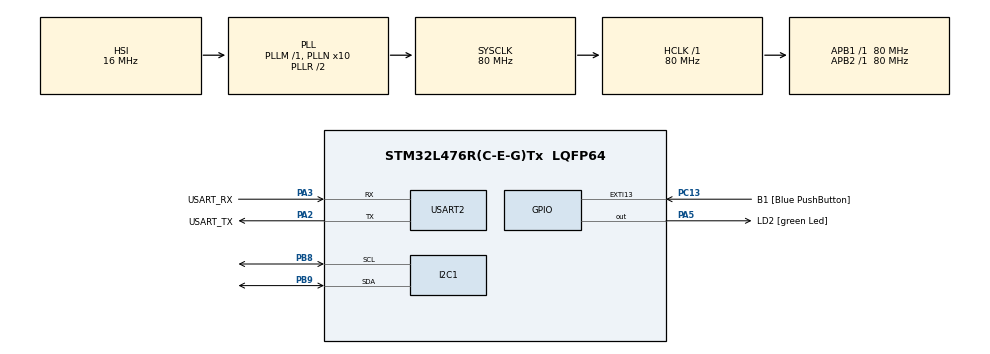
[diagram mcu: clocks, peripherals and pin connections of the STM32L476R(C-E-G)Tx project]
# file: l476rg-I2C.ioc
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I2C1.Timing=0x10909CEC
Mcu.Family=STM32L4
Mcu.Name=STM32L476R(C-E-G)Tx
Mcu.Package=LQFP64
NVIC.PriorityGroup=NVIC_PRIORITYGROUP_4
PA13\ (JTMS-SWDIO).GPIO_Label=TMS
PA13\ (JTMS-SWDIO).Mode=Serial_Wire
PA13\ (JTMS-SWDIO).Signal=SYS_JTMS-SWDIO
PA14\ (JTCK-SWCLK).GPIO_Label=TCK
PA14\ (JTCK-SWCLK).Mode=Serial_Wire
PA14\ (JTCK-SWCLK).Signal=SYS_JTCK-SWCLK
PA2.GPIO_Label=USART_TX
PA2.GPIO_Mode=GPIO_MODE_AF_PP
PA2.GPIO_PuPd=GPIO_NOPULL
PA2.GPIO_Speed=GPIO_SPEED_FREQ_VERY_HIGH
PA2.Mode=Asynchronous
PA2.Signal=USART2_TX
PA3.GPIO_Label=USART_RX
PA3.GPIO_Mode=GPIO_MODE_AF_PP
PA3.GPIO_PuPd=GPIO_NOPULL
PA3.GPIO_Speed=GPIO_SPEED_FREQ_VERY_HIGH
PA3.Mode=Asynchronous
PA3.Signal=USART2_RX
PA5.GPIO_Label=LD2 [green Led]
PA5.GPIO_ModeDefaultOutputPP=GPIO_MODE_OUTPUT_PP
PA5.GPIO_PuPd=GPIO_NOPULL
PA5.GPIO_Speed=GPIO_SPEED_FREQ_LOW
PA5.Signal=GPIO_Output
PB3\ (JTDO-TRACESWO).GPIO_Label=SWO
PB3\ (JTDO-TRACESWO).Signal=SYS_JTDO-SWO
PB8.Mode=I2C
PB8.Signal=I2C1_SCL
PB9.Mode=I2C
PB9.Signal=I2C1_SDA
PC13.GPIO_Label=B1 [Blue PushButton]
PC13.GPIO_ModeDefaultEXTI=GPIO_MODE_IT_FALLING
PC13.GPIO_PuPd=GPIO_NOPULL
PC13.Signal=GPXTI13
PC14-OSC32_IN\ (PC14).Mode=LSE-External-Oscillator
PC14-OSC32_IN\ (PC14).Signal=RCC_OSC32_IN
PC15-OSC32_OUT\ (PC15).Mode=LSE-External-Oscillator
PC15-OSC32_OUT\ (PC15).Signal=RCC_OSC32_OUT
PH0-OSC_IN\ (PH0).Signal=RCC_OSC_IN
PH1-OSC_OUT\ (PH1).Signal=RCC_OSC_OUT
ProjectManager.HeapSize=0x200
ProjectManager.StackSize=0x400
ProjectManager.TargetToolchain=STM32CubeIDE
RCC.ADCFreq_Value=64000000
RCC.AHBFreq_Value=80000000
RCC.APB1Freq_Value=80000000
RCC.APB1TimFreq_Value=80000000
RCC.APB2Freq_Value=80000000
RCC.APB2TimFreq_Value=80000000
RCC.CortexFreq_Value=80000000
RCC.HCLKFreq_Value=80000000
RCC.HSE_VALUE=8000000
RCC.HSI_VALUE=16000000
RCC.MSI_VALUE=4000000
RCC.PLLN=10
RCC.PLLSourceVirtual=RCC_PLLSOURCE_HSI
RCC.PREFETCH_ENABLE=1
RCC.SYSCLKFreq_VALUE=80000000
RCC.SYSCLKSource=RCC_SYSCLKSOURCE_PLLCLK
RCC.USBFreq_Value=64000000
RCC.VCOOutputFreq_Value=160000000
USART2.VirtualMode-Asynchronous=VM_ASYNC
board=NUCLEO-L476RG

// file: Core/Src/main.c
/* USER CODE BEGIN Header */
/**
  ******************************************************************************
  * @file           : main.c
  * @brief          : Main program body
  ******************************************************************************
  * @attention
  *
  * Copyright (c) 2023 STMicroelectronics.
  * All rights reserved.
  *
  * This software is licensed under terms that can be found in the LICENSE file
  * in the root directory of this software component.
  * If no LICENSE file comes with this software, it is provided AS-IS.
  *
  ******************************************************************************
  */
/* USER CODE END Header */
#include "main.h"

/* USER CODE BEGIN Includes */
#include <string.h>
#include <stdio.h>
/* USER CODE END Includes */

I2C_HandleTypeDef hi2c1;

UART_HandleTypeDef huart2;

/* USER CODE BEGIN PV */
static const uint8_t SENSOR_ADDRESS = 0x44 << 1;
static const uint8_t SENSOR_DATA = 0x00;
/* USER CODE END PV */

void SystemClock_Config(void);
static void MX_GPIO_Init(void);
static void MX_USART2_UART_Init(void);
static void MX_I2C1_Init(void);

void PrintHALStatus(HAL_StatusTypeDef status) {
	uint8_t buffer[50];

    switch (status) {
        case HAL_OK:
            sprintf(buffer, "HAL Status: OK\r\n");
            break;
        case HAL_ERROR:
            sprintf(buffer, "HAL Status: Error\r\n");
            break;
        case HAL_BUSY:
            sprintf(buffer, "HAL Status: Busy\r\n");
            break;
        case HAL_TIMEOUT:
            sprintf(buffer, "HAL Status: Timeout\r\n");
            break;
        default:
            sprintf(buffer, "HAL Status: Unknown\r\n");
            break;
    }

    // Transmit the formatted string over UART
    HAL_UART_Transmit(&huart2, buffer, strlen((char*)buffer), HAL_MAX_DELAY);
}

int main(void)
{
  /* USER CODE BEGIN 1 */

	HAL_StatusTypeDef statusReturn;
	uint8_t buf[12];
	uint16_t tempSensorVal;
	float sensorVal;

  /* USER CODE END 1 */

  /* MCU Configuration--------------------------------------------------------*/

  /* Reset of all peripherals, Initializes the Flash interface and the Systick. */
  HAL_Init();

  /* Configure the system clock */
  SystemClock_Config();

  /* Initialize all configured peripherals */
  MX_GPIO_Init();
  MX_USART2_UART_Init();
  MX_I2C1_Init();

  /* Infinite loop */
  /* USER CODE BEGIN WHILE */
  while (1)
  {

	  buf[0] = SENSOR_DATA;
	  statusReturn = HAL_I2C_Master_Transmit(&hi2c1, SENSOR_ADDRESS, buf, 1, HAL_MAX_DELAY);

	  PrintHALStatus(statusReturn);

	  if(statusReturn != HAL_OK)
	  {
		  strcpy((char*)buf, "Sensor Read Error (Byte 1) \r\n");
	  }
	  else
	  {
		  statusReturn = HAL_I2C_Master_Transmit(&hi2c1, SENSOR_ADDRESS, buf, 2, HAL_MAX_DELAY);
		  if(statusReturn != HAL_OK)
		  {
			  strcpy((char*)buf, "Sensor Read Error (Byte 2) \r\n");
		  }
		  else
		  {
			  //Combine the bytes
			  tempSensorVal = ((int16_t)buf[0] << 4 | (buf[1] >> 4));

			  //strcpy((char*)buf, "Sensor Read Success \r\n");
			  sprintf((char*)buf, "Sensor Value %u", tempSensorVal);
		  }
	  }

	  //Copies string "hello" into buffer by pointer then transmits buffer contents using UART
	  //strcpy((char*)buf, "hello \r\n");
	  HAL_UART_Transmit(&huart2, buf, strlen((char*)buf), HAL_MAX_DELAY);

	  //strcpy((char*)buf, tempSensorVal)
	  //HAL_UART_Transmit(&huart2, tempSensorVal, strlen(tempSensorVal), HAL_MAX_DELAY);

	  HAL_Delay(500);
    /* USER CODE END WHILE */

  }
}

void SystemClock_Config(void)
{
  RCC_OscInitTypeDef RCC_OscInitStruct = {0};
  RCC_ClkInitTypeDef RCC_ClkInitStruct = {0};

  /** Configure the main internal regulator output voltage
  */
  if (HAL_PWREx_ControlVoltageScaling(PWR_REGULATOR_VOLTAGE_SCALE1) != HAL_OK)
  {
    Error_Handler();
  }

  /** Initializes the RCC Oscillators according to the specified parameters
  * in the RCC_OscInitTypeDef structure.
  */
  RCC_OscInitStruct.OscillatorType = RCC_OSCILLATORTYPE_HSI;
  RCC_OscInitStruct.HSIState = RCC_HSI_ON;
  RCC_OscInitStruct.HSICalibrationValue = RCC_HSICALIBRATION_DEFAULT;
  RCC_OscInitStruct.PLL.PLLState = RCC_PLL_ON;
  RCC_OscInitStruct.PLL.PLLSource = RCC_PLLSOURCE_HSI;
  RCC_OscInitStruct.PLL.PLLM = 1;
  RCC_OscInitStruct.PLL.PLLN = 10;
  RCC_OscInitStruct.PLL.PLLP = RCC_PLLP_DIV7;
  RCC_OscInitStruct.PLL.PLLQ = RCC_PLLQ_DIV2;
  RCC_OscInitStruct.PLL.PLLR = RCC_PLLR_DIV2;
  if (HAL_RCC_OscConfig(&RCC_OscInitStruct) != HAL_OK)
  {
    Error_Handler();
  }

  /** Initializes the CPU, AHB and APB buses clocks
  */
  RCC_ClkInitStruct.ClockType = RCC_CLOCKTYPE_HCLK|RCC_CLOCKTYPE_SYSCLK
                              |RCC_CLOCKTYPE_PCLK1|RCC_CLOCKTYPE_PCLK2;
  RCC_ClkInitStruct.SYSCLKSource = RCC_SYSCLKSOURCE_PLLCLK;
  RCC_ClkInitStruct.AHBCLKDivider = RCC_SYSCLK_DIV1;
  RCC_ClkInitStruct.APB1CLKDivider = RCC_HCLK_DIV1;
  RCC_ClkInitStruct.APB2CLKDivider = RCC_HCLK_DIV1;

  if (HAL_RCC_ClockConfig(&RCC_ClkInitStruct, FLASH_LATENCY_4) != HAL_OK)
  {
    Error_Handler();
  }
}

static void MX_I2C1_Init(void)
{

  hi2c1.Instance = I2C1;
  hi2c1.Init.Timing = 0x10909CEC;
  hi2c1.Init.OwnAddress1 = 0;
  hi2c1.Init.AddressingMode = I2C_ADDRESSINGMODE_7BIT;
  hi2c1.Init.DualAddressMode = I2C_DUALADDRESS_DISABLE;
  hi2c1.Init.OwnAddress2 = 0;
  hi2c1.Init.OwnAddress2Masks = I2C_OA2_NOMASK;
  hi2c1.Init.GeneralCallMode = I2C_GENERALCALL_DISABLE;
  hi2c1.Init.NoStretchMode = I2C_NOSTRETCH_DISABLE;
  if (HAL_I2C_Init(&hi2c1) != HAL_OK)
  {
    Error_Handler();
  }

  /** Configure Analogue filter
  */
  if (HAL_I2CEx_ConfigAnalogFilter(&hi2c1, I2C_ANALOGFILTER_ENABLE) != HAL_OK)
  {
    Error_Handler();
  }

  /** Configure Digital filter
  */
  if (HAL_I2CEx_ConfigDigitalFilter(&hi2c1, 0) != HAL_OK)
  {
    Error_Handler();
  }

}

static void MX_USART2_UART_Init(void)
{

  huart2.Instance = USART2;
  huart2.Init.BaudRate = 115200;
  huart2.Init.WordLength = UART_WORDLENGTH_8B;
  huart2.Init.StopBits = UART_STOPBITS_1;
  huart2.Init.Parity = UART_PARITY_NONE;
  huart2.Init.Mode = UART_MODE_TX_RX;
  huart2.Init.HwFlowCtl = UART_HWCONTROL_NONE;
  huart2.Init.OverSampling = UART_OVERSAMPLING_16;
  huart2.Init.OneBitSampling = UART_ONE_BIT_SAMPLE_DISABLE;
  huart2.AdvancedInit.AdvFeatureInit = UART_ADVFEATURE_NO_INIT;
  if (HAL_UART_Init(&huart2) != HAL_OK)
  {
    Error_Handler();
  }

}

static void MX_GPIO_Init(void)
{
  GPIO_InitTypeDef GPIO_InitStruct = {0};

  /* GPIO Ports Clock Enable */
  __HAL_RCC_GPIOC_CLK_ENABLE();
  __HAL_RCC_GPIOH_CLK_ENABLE();
  __HAL_RCC_GPIOA_CLK_ENABLE();
  __HAL_RCC_GPIOB_CLK_ENABLE();

  /*Configure GPIO pin Output Level */
  HAL_GPIO_WritePin(LD2_GPIO_Port, LD2_Pin, GPIO_PIN_RESET);

  /*Configure GPIO pin : B1_Pin */
  GPIO_InitStruct.Pin = B1_Pin;
  GPIO_InitStruct.Mode = GPIO_MODE_IT_FALLING;
  GPIO_InitStruct.Pull = GPIO_NOPULL;
  HAL_GPIO_Init(B1_GPIO_Port, &GPIO_InitStruct);

  /*Configure GPIO pin : LD2_Pin */
  GPIO_InitStruct.Pin = LD2_Pin;
  GPIO_InitStruct.Mode = GPIO_MODE_OUTPUT_PP;
  GPIO_InitStruct.Pull = GPIO_NOPULL;
  GPIO_InitStruct.Speed = GPIO_SPEED_FREQ_LOW;
  HAL_GPIO_Init(LD2_GPIO_Port, &GPIO_InitStruct);

}

void Error_Handler(void)
{
  __disable_irq();
  while (1)
  {
  }
}
